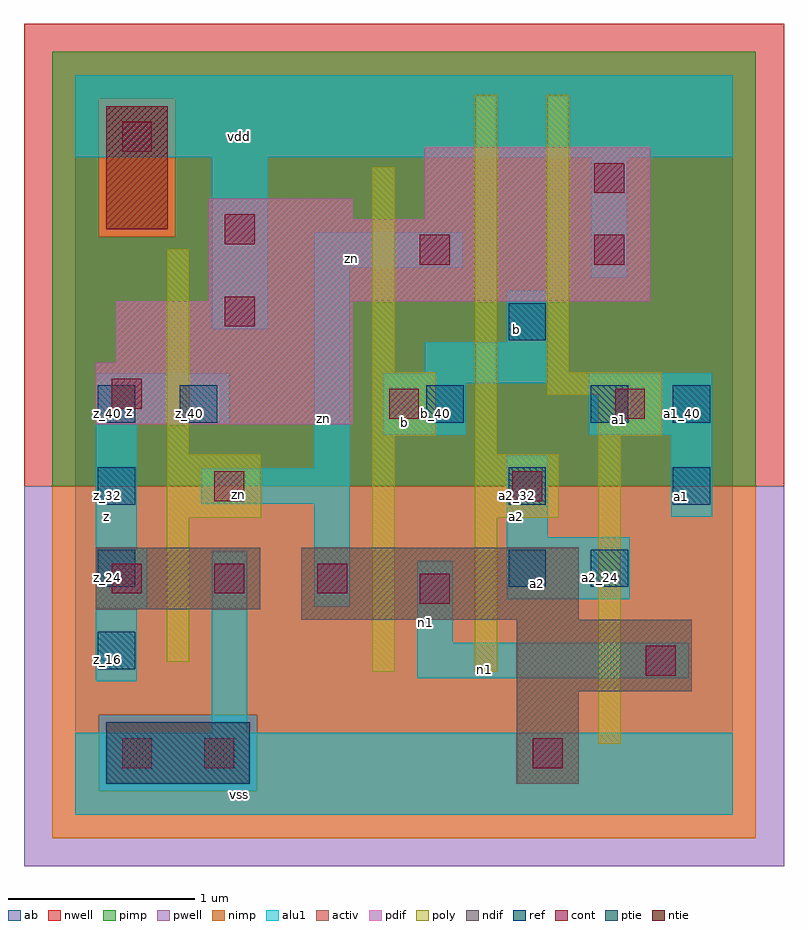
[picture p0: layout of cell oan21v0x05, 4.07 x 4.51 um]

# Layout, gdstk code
import gdstk
lib = gdstk.Library(unit=1e-6, precision=2.5e-09)
def R(c, l, rs):  # rectangles x0, y0, x1, y1
    for r in rs: c.add(gdstk.rectangle(r[:2], r[2:], *l))
def A(c, l, x, y, w, h, nx, ny, dx, dy):  # array of equal rectangles
    R(c, l, [(x+i*dx, y+j*dy, x+i*dx+w, y+j*dy+h) for i in range(nx) for j in range(ny)])
ndif = (3, 0)
pdif = (4, 0)
ntie = (5, 0)
ptie = (6, 0)
ref = (24, 0)
cont = (25, 0)
pwell = (41, 0)
nwell = (42, 0)
activ = (43, 0)
pimp = (44, 0)
nimp = (45, 0)
poly = (46, 0)
alu1 = (49, 0)
ab = (63, 0)

oan21v0x05 = lib.new_cell('oan21v0x05')
R(oan21v0x05, ndif, [(2.365,0.165,2.695,0.66), (2.365,0.66,3.3,1.045), (1.21,1.045,2.695,1.43), (0.11,1.1,0.99,1.43)])
R(oan21v0x05, pdif, [(0.11,2.09,1.485,2.42), (0.22,2.42,1.485,2.75), (0.715,2.75,3.08,3.19), (0.715,3.19,1.485,3.3), (1.87,3.19,3.08,3.575)])
R(oan21v0x05, ntie, [(0.165,3.135,0.495,3.795)])
R(oan21v0x05, ptie, [(0.165,0.165,0.935,0.495)])
A(oan21v0x05, ref, 0.12, 0.78, 0.2, 0.2, 1, 4, 0, 0.44)
R(oan21v0x05, ref, [(2.32,1.22,2.52,1.42), (2.76,1.22,2.96,1.42), (2.32,1.66,2.52,1.86), (3.2,1.66,3.4,1.86), (0.56,2.1,0.76,2.3), (1.88,2.1,2.08,2.3), (2.76,2.1,2.96,2.3), (3.2,2.1,3.4,2.3), (2.32,2.54,2.52,2.74)])
A(oan21v0x05, cont, 0.195, 1.185, 0.16, 0.16, 3, 1, 0.55, 0)
R(oan21v0x05, cont, [(0.25,0.25,0.41,0.41), (0.69,0.25,0.85,0.41), (2.45,0.25,2.61,0.41), (3.055,0.745,3.215,0.905), (1.845,1.13,2.005,1.29), (0.745,1.68,0.905,1.84), (2.34,1.68,2.5,1.84), (1.68,2.12,1.84,2.28), (2.89,2.12,3.05,2.28), (0.195,2.175,0.355,2.335), (0.8,2.615,0.96,2.775), (1.845,2.945,2.005,3.105), (2.78,2.945,2.94,3.105), (0.8,3.055,0.96,3.215), (2.78,3.33,2.94,3.49), (0.25,3.55,0.41,3.71)])
R(oan21v0x05, pwell, [(-0.275,-0.275,3.795,1.76)])
R(oan21v0x05, nwell, [(-0.275,1.76,3.795,4.235)])
R(oan21v0x05, activ, [(0.165,0.165,0.935,0.495), (2.365,0.165,2.695,0.66), (2.365,0.66,3.3,1.045), (1.21,1.045,2.695,1.43), (0.11,1.1,0.99,1.43), (0.11,2.09,1.485,2.42), (0.22,2.42,1.485,2.75), (0.715,2.75,3.08,3.19), (0.165,3.135,0.495,3.795), (0.715,3.19,1.485,3.3), (1.87,3.19,3.08,3.575)])
R(oan21v0x05, pimp, [(0.125,0.125,0.975,0.535), (-0.125,1.76,3.645,3.095), (-0.125,3.095,0.125,3.835), (0.535,3.095,3.645,3.835), (-0.125,3.835,3.645,4.085)])
R(oan21v0x05, nimp, [(-0.125,-0.125,3.645,0.125), (-0.125,0.125,0.125,0.535), (0.975,0.125,3.645,0.535), (-0.125,0.535,3.645,1.76), (0.125,3.095,0.535,3.835)])
R(oan21v0x05, poly, [(2.8,0.38,2.92,2.03), (1.59,0.765,1.71,2.03), (2.14,0.765,2.26,1.59), (0.49,0.82,0.61,1.59), (0.49,1.59,0.995,1.93), (2.14,1.59,2.59,1.93), (0.49,1.93,0.61,3.03), (2.14,1.93,2.26,3.855), (1.59,2.03,1.93,2.37), (2.8,2.03,3.14,2.25), (2.525,2.25,3.14,2.37), (1.59,2.37,1.71,3.47), (2.525,2.37,2.645,3.855)])
R(oan21v0x05, alu1, [(0,0,3.52,0.44), (0.73,0.44,0.92,1.415), (0.11,0.715,0.33,1.1), (1.83,0.73,3.285,0.92), (1.83,0.92,2.02,1.36), (0.11,1.1,0.385,1.43), (1.28,1.115,1.47,1.665), (2.31,1.155,2.97,1.485), (0.11,1.43,0.33,2.09), (2.31,1.485,2.53,1.925), (3.19,1.595,3.41,2.035), (0.675,1.665,1.47,1.855), (1.28,1.855,1.47,2.93), (1.65,2.035,2.09,2.31), (2.75,2.035,3.41,2.365), (0.11,2.09,0.825,2.365), (1.65,2.31,2.53,2.365), (1.87,2.365,2.53,2.53), (2.31,2.53,2.53,2.805), (0.73,2.6,1.03,3.52), (2.765,2.875,2.955,3.52), (1.28,2.93,2.075,3.12), (0,3.52,3.52,3.96)])
R(oan21v0x05, ab, [(0,0,3.52,3.96)])
oan21v0x05.add(gdstk.Label('vss', (0.88,0.11), layer=49, texttype=0))
oan21v0x05.add(gdstk.Label('n1', (2.1925,0.7775), layer=49, texttype=0))
oan21v0x05.add(gdstk.Label('a2', (2.475,1.2375), layer=49, texttype=0))
oan21v0x05.add(gdstk.Label('n1', (1.8775,1.03), layer=49, texttype=0))
oan21v0x05.add(gdstk.Label('a1', (3.245,1.705), layer=49, texttype=0))
oan21v0x05.add(gdstk.Label('a2', (2.365,1.595), layer=49, texttype=0))
oan21v0x05.add(gdstk.Label('zn', (0.8725,1.7125), layer=49, texttype=0))
oan21v0x05.add(gdstk.Label('a1', (2.915,2.1175), layer=49, texttype=0))
oan21v0x05.add(gdstk.Label('b', (1.76,2.1025), layer=49, texttype=0))
oan21v0x05.add(gdstk.Label('b', (2.365,2.5975), layer=49, texttype=0))
oan21v0x05.add(gdstk.Label('zn', (1.3275,2.1225), layer=49, texttype=0))
oan21v0x05.add(gdstk.Label('z', (0.165,1.595), layer=49, texttype=0))
oan21v0x05.add(gdstk.Label('z', (0.2875,2.1575), layer=49, texttype=0))
oan21v0x05.add(gdstk.Label('zn', (1.4775,2.9775), layer=49, texttype=0))
oan21v0x05.add(gdstk.Label('vdd', (0.88,3.63), layer=49, texttype=0))
oan21v0x05.add(gdstk.Label('z_40', (0.17,2.15), layer=24, texttype=0))
oan21v0x05.add(gdstk.Label('z_32', (0.17,1.71), layer=24, texttype=0))
oan21v0x05.add(gdstk.Label('z_24', (0.17,1.27), layer=24, texttype=0))
oan21v0x05.add(gdstk.Label('z_16', (0.17,0.83), layer=24, texttype=0))
oan21v0x05.add(gdstk.Label('a2_24', (2.81,1.27), layer=24, texttype=0))
oan21v0x05.add(gdstk.Label('a2_24', (2.37,1.27), layer=24, texttype=0))
oan21v0x05.add(gdstk.Label('a2_32', (2.37,1.71), layer=24, texttype=0))
oan21v0x05.add(gdstk.Label('a1_40', (3.25,2.15), layer=24, texttype=0))
oan21v0x05.add(gdstk.Label('a1_40', (2.81,2.15), layer=24, texttype=0))
oan21v0x05.add(gdstk.Label('b_40', (1.93,2.15), layer=24, texttype=0))
oan21v0x05.add(gdstk.Label('b_48', (2.37,2.59), layer=24, texttype=0))
oan21v0x05.add(gdstk.Label('z_40', (0.61,2.15), layer=24, texttype=0))
oan21v0x05.add(gdstk.Label('a1_32', (3.25,1.71), layer=24, texttype=0))

lib.write_gds('oan21v0x05.gds')
